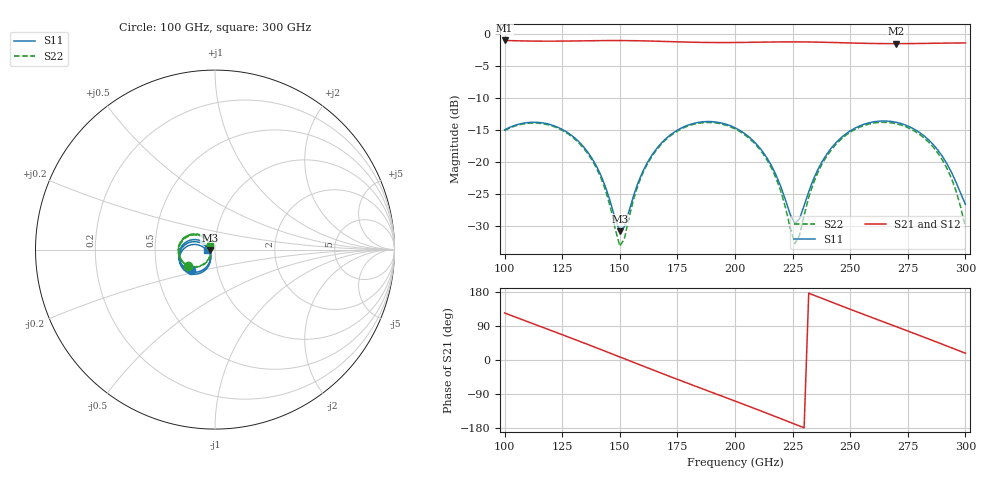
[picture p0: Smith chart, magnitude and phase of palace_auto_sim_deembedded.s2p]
! Created with skrf 1.11.0 (http://scikit-rf.org).
# GHz S DB R 50.0
!freq dBS11 angS11 dBS21 angS21 dBS12 angS12 dBS22 angS22
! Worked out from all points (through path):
!   101 points, 100 GHz to 300 GHz, reference 50 ohm
!   highest |S21| = -1.00 dB at 100 GHz (marker M1); lowest = -1.5 dB at 270 GHz (marker M2)
!   group delay of S21, straight-line fit = 6.48 ps
!   lowest |S11| = -30.7 dB at 150 GHz (marker M3), VSWR 1.06, Z = 47.2 - j0.431 ohm
!   |S11| at or under -10 dB: start of sweep to end of sweep
!   |S22| runs from -33.1 to -13.8 dB; largest |S21 - S12| = 1e-13
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100  -14.95 -139.5  -1.00 124.1  -1.00 124.1  -15.05 -148.5
116  -13.83 -171.3  -1.11 87.4  -1.11 87.4  -13.95 177.6
134  -17.47 155.4  -1.06 45.9  -1.06 45.9  -17.67 141.3
142  -22.20 147.4  -1.03 27.1  -1.03 27.1  -22.59 130.6
150  -30.73 -171.0  -1.02 8.1  -1.02 8.1  -33.08 174.2
152  -30.06 -142.3  -1.02 3.3  -1.02 3.3  -31.91 -148.8
156  -25.17 -116.4  -1.04 -6.3  -1.04 -6.3  -25.73 -123.8
160  -21.41 -113.5  -1.06 -15.8  -1.06 -15.8  -21.69 -123.5
168  -17.02 -122.8  -1.14 -34.7  -1.14 -34.7  -17.19 -135.5
184  -13.78 -152.0  -1.29 -71.8  -1.29 -71.8  -13.92 -167.8
200  -14.62 177.7  -1.32 -108.4  -1.32 -108.4  -14.78 159.1
216  -20.63 155.0  -1.24 -145.6  -1.24 -145.6  -21.02 131.2
226  -29.52 -162.6  -1.22 -169.4  -1.22 -169.4  -32.67 175.7
234  -22.69 -111.5  -1.25 171.6  -1.25 171.6  -23.29 -124.7
240  -18.64 -113.8  -1.29 157.3  -1.29 157.3  -18.94 -130.5
248  -15.60 -125.4  -1.37 138.5  -1.37 138.5  -15.81 -144.8
258  -13.85 -143.1  -1.46 115.4  -1.46 115.4  -14.05 -164.9
268  -13.64 -161.5  -1.50 92.5  -1.50 92.5  -13.86 174.4
270  -13.77 -165.1  -1.50 87.9  -1.50 87.9  -13.99 170.3
288  -18.07 166.8  -1.43 46.3  -1.43 46.3  -18.54 135.6
294  -21.59 164.9  -1.40 32.1  -1.40 32.1  -22.55 128.7
300  -26.56 -175.1  -1.39 17.8  -1.39 17.8  -30.14 144.4
